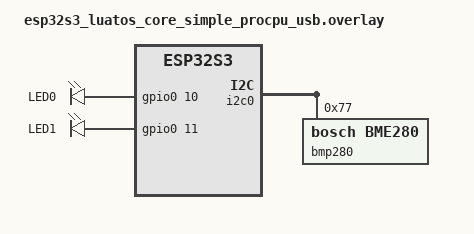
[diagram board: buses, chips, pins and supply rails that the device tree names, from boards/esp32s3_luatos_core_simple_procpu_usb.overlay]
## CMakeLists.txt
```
#-------------------------------------------------------------------------------
# Zephyr Example Application
#
# Copyright (c) 2021 Nordic Semiconductor ASA
# SPDX-License-Identifier: Apache-2.0

cmake_minimum_required(VERSION 3.13.1)
find_package(Zephyr REQUIRED HINTS $ENV{ZEPHYR_BASE})

project(app LANGUAGES C)

file(GLOB app_sources src/*.c)

target_sources(app PRIVATE ${app_sources})

zephyr_include_directories(${APPLICATION_SOURCE_DIR}/src/tls_config)
```

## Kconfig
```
# Copyright (c) 2021 Nordic Semiconductor ASA
# SPDX-License-Identifier: Apache-2.0
#
# This file is the application Kconfig entry point. All application Kconfig
# options can be defined here or included via other application Kconfig files.
# You can browse these options using the west targets menuconfig (terminal) or
# guiconfig (GUI).

mainmenu "Secure MQTT Sensor Actuator Sample Application"

config NET_SAMPLE_MQTT_BROKER_HOSTNAME
	string "Hostname of MQTT broker"
	default "test.mosquitto.org"
	help
	  MQTT broker's hostname or IP address.

config NET_SAMPLE_MQTT_BROKER_PORT
	string "MQTT Broker Connection Port"
	default "8883"
	help
	  Port through which the application should connect to the MQTT broker.
	  Secure MQTT uses port 8883.

config NET_SAMPLE_MQTT_PUB_TOPIC
	string "The MQTT topic the application should publish data to"
	default "zephyr_sample/sensor"

config NET_SAMPLE_MQTT_SUB_TOPIC_CMD
	string "The MQTT topic the application will receive commands on"
	default "zephyr_sample/command"

config NET_SAMPLE_MQTT_PUBLISH_INTERVAL
	int "Interval between MQTT publishes (in seconds)"
	default 3
	help
	  This config determines the frequency at which MQTT publishes occur.

choice NET_SAMPLE_MQTT_QOS
	prompt "Quality of Service level used for MQTT publish and subscribe"
	default NET_SAMPLE_MQTT_QOS_1_AT_LEAST_ONCE

config NET_SAMPLE_MQTT_QOS_0_AT_MOST_ONCE
	bool "QoS 0 / At most once delivery"
	help
	  No acknowledgment needed for published message.

config NET_SAMPLE_MQTT_QOS_1_AT_LEAST_ONCE
	bool "QoS 1 / At least once delivery"
	help
	  If acknowledgment expected for published message, duplicate messages permitted.

config NET_SAMPLE_MQTT_QOS_2_EXACTLY_ONCE
	bool "QoS 2 / Exactly once delivery"
	help
	   Acknowledgment expected and message shall be published only once.

endchoice

config NET_SAMPLE_MQTT_PAYLOAD_SIZE
	int "Size of MQTT payload in bytes"
	default 128

config WIFI_SAMPLE_SSID
	string "SSID of the target AP"
	help
	  SSID of the access point to connect to in station mode.
	  For example: "TARGET-AP"

config WIFI_SAMPLE_PSK
	string "Pre-shared key for target AP"
	help
	  WPA2 password used to connect to the target AP.
	  For example: "PSK"


source "Kconfig.zephyr"


module = APP
module-str = APP
source "subsys/logging/Kconfig.template.log_config"
```

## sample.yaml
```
# This file is provided so that the application can be compiled using Twister,
# the Zephyr testing tool. In this file, multiple combinations can be specified,
# so that you can easily test all of them locally or in CI.
sample:
  description: Example application
  name: example-application
common:
  build_only: true
  integration_platforms:
    - esp32s3_luatos_core
tests:
  app.default: {}
  app.debug:
    extra_overlay_confs:
      - debug.conf
```

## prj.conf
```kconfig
# Copyright (c) 2021 Nordic Semiconductor ASA
# SPDX-License-Identifier: Apache-2.0
#
# This file contains selected Kconfig options for the application.

CONFIG_NETWORKING=y
CONFIG_NET_LOG=y
CONFIG_NET_IPV4=y
CONFIG_NET_TCP=y
CONFIG_NET_DHCPV4=y
CONFIG_NET_SOCKETS=y
CONFIG_NET_SOCKETS_SOCKOPT_TLS=y
CONFIG_NET_BUF_RX_COUNT=100

CONFIG_NET_CONFIG_AUTO_INIT=n
CONFIG_NET_CONNECTION_MANAGER=y

CONFIG_NET_L2_ETHERNET=y
CONFIG_NET_L2_WIFI_MGMT=y

CONFIG_NET_MGMT=y
CONFIG_NET_MGMT_EVENT=y
CONFIG_NET_MGMT_EVENT_INFO=y
CONFIG_NET_MGMT_EVENT_QUEUE_SIZE=10
CONFIG_NET_MGMT_EVENT_STACK_SIZE=4096


CONFIG_MQTT_LIB=y
CONFIG_MQTT_LIB_TLS=y

CONFIG_MBEDTLS=y
CONFIG_MBEDTLS_BUILTIN=y
CONFIG_MBEDTLS_ENABLE_HEAP=y
CONFIG_MBEDTLS_HEAP_SIZE=60000
CONFIG_MBEDTLS_SSL_MAX_CONTENT_LEN=16384
CONFIG_MBEDTLS_PEM_CERTIFICATE_FORMAT=y
CONFIG_MBEDTLS_SERVER_NAME_INDICATION=y

CONFIG_JSON_LIBRARY=y
CONFIG_JSON_LIBRARY_FP_SUPPORT=y

CONFIG_NET_CONNECTION_MANAGER=y
CONFIG_NET_HOSTNAME_ENABLE=y

CONFIG_POSIX_API=y

CONFIG_SENSOR=y
CONFIG_SENSOR_ASYNC_API=y

CONFIG_LED=y

CONFIG_LOG=y
CONFIG_APP_LOG_LEVEL_DBG=y

# Main stack size
CONFIG_MAIN_STACK_SIZE=2048

# System work queue stack size
CONFIG_SYSTEM_WORKQUEUE_STACK_SIZE=2048

# Increase Rx net buffers
CONFIG_NET_BUF_RX_COUNT=100

CONFIG_PICOLIBC_IO_FLOAT=y
```

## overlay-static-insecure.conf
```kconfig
# Usage: west build -b <board> -- -DEXTRA_CONF_FILE=overlay-static-insecure.conf

CONFIG_MQTT_LIB_TLS=n
# CONFIG_NET_DHCPV4=n
CONFIG_NET_SAMPLE_MQTT_BROKER_PORT="1883"
CONFIG_NET_SAMPLE_MQTT_BROKER_HOSTNAME="10.0.0.148"

# CONFIG_NET_CONFIG_SETTINGS=y
# CONFIG_NET_CONFIG_MY_IPV4_ADDR="10.0.0.5"
```

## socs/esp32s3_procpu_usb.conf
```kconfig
CONFIG_ESP32_WIFI_STA_AUTO_DHCPV4=y

CONFIG_WIFI=y
CONFIG_WIFI_SAMPLE_SSID="11"
CONFIG_WIFI_SAMPLE_PSK="pkj20041124PKJ"

CONFIG_WIFI_NM=y
```

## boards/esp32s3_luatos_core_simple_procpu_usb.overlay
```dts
/*
 * SPDX-License-Identifier: Apache-2.0
 */

#include <zephyr/dt-bindings/pwm/pwm.h>

/ {
	aliases {
		ambient-temp0 = &bmp280;
	};

	gpio_leds {
		compatible = "gpio-leds";
		led_blue0: led_gpio0_10 {
			label = "LED0";
			gpios = <&gpio0 10 GPIO_ACTIVE_HIGH>;
		};

		led_blue1: led_gpio0_11 {
			label = "LED1";
			gpios = <&gpio0 11 GPIO_ACTIVE_HIGH>;
		};
	};
};

&i2c0 {
	status = "okay";
	bmp280: bme280@77 {
		compatible = "bosch,bme280";
		reg = <0x77>;
	};
};
```

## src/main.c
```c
/*
 * SPDX-License-Identifier: Apache-2.0
 */

#include <zephyr/logging/log.h>
LOG_MODULE_REGISTER(main, CONFIG_APP_LOG_LEVEL);

#include <zephyr/net/dhcpv4.h>
#include <zephyr/drivers/sensor.h>
#include <zephyr/kernel.h>
#include <zephyr/net/mqtt.h>
#include <zephyr/net/net_if.h>
#include <zephyr/net/conn_mgr_monitor.h>

#include "mqtt_client.h"
#include "mgmt.h"
#include "wifi_sta.h"
#include "device.h"

static struct mqtt_client client_ctx;
struct k_work_delayable mqtt_publish_work;

void log_mac_addr(struct net_if *iface) {
    struct net_linkaddr *mac;

    mac = net_if_get_link_addr(iface);
    LOG_INF("MAC address: %02X:%02X:%02X:%02X:%02X:%02X", mac->addr[0], mac->addr[1], mac->addr[2], mac->addr[3],
            mac->addr[4], mac->addr[5]);
}

static void publish_work_handler(struct k_work *work) {
    int ret;

    LOG_INF("Publish work");

    if (mqtt_connected) {
        ret = app_mqtt_publish(&client_ctx);
        if (ret != 0) {
            LOG_ERR("publish failed (%d)", ret);
        }
        LOG_INF("published");
        k_work_reschedule(&mqtt_publish_work,K_SECONDS(CONFIG_NET_SAMPLE_MQTT_PUBLISH_INTERVAL));
    } else {
        LOG_INF("not connected");
        k_work_cancel_delayable(&mqtt_publish_work);
    }
}

int main(void) {
    int ret = 0;
    struct net_if *iface;

    ret = device_ready();
    if (ret != true) {
        LOG_ERR("device_ready failed (%d)", ret);
        return ret;
    }

    mgmt_init();

    LOG_INF("Bring up network");

    ret = connect_to_wifi();
    if (ret != 0) {
        LOG_ERR("connect_to_wifi failed (%d)", ret);
    }

    iface = net_if_get_default();
    if (iface == NULL) {
        LOG_ERR("net_if_get_default() failed");
        return -ENETDOWN;
    }
    log_mac_addr(iface);

#if defined(CONFIG_NET_DHCPV4)
    net_dhcpv4_start(iface);
#else
    conn_mgr_mon_resend_status();
#endif
    k_sleep(K_SECONDS(8));
    // while (k_sem_take(&net_conn_sem, K_MSEC(5000)) != 0) {
    //     LOG_INF("Waiting for network connection");
    // }

    ret = app_mqtt_init(&client_ctx);
    if (ret != 0) {
        LOG_ERR("mqtt init failed (%d)", ret);
        return ret;
    }

    k_work_init_delayable(&mqtt_publish_work, publish_work_handler);

    while (true) {
        app_mqtt_connect(&client_ctx);

        k_work_reschedule(&mqtt_publish_work, K_SECONDS(CONFIG_NET_SAMPLE_MQTT_PUBLISH_INTERVAL));

        app_mqtt_run(&client_ctx);
    }

    return 0;
}
```

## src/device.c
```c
//
// Created by pkj on 2025/10/17.
//

#include "zephyr/drivers/led.h"
#include "zephyr/logging/log.h"
LOG_MODULE_REGISTER(app_device, CONFIG_APP_LOG_LEVEL);

#include "device.h"
#include "zephyr/device.h"
#include "zephyr/drivers/sensor.h"

#define SENSOR_UNIT "Celsius"
#define SENSOR_CHAN SENSOR_CHAN_AMBIENT_TEMP

struct device_cmd {
    const char *command;

    void (*handler)();
};

static const struct device *leds = DEVICE_DT_GET_OR_NULL(DT_INST(0,gpio_leds));
static const struct device *sensor = DEVICE_DT_GET_OR_NULL(DT_ALIAS(ambient_temp0));

static void led_user_on_handler(void) {
    device_write_led(LED_USER, 1);
}

static void led_user_off_handler(void) {
    device_write_led(LED_USER, 0);
}

static const struct device_cmd device_cmds[] = {
    {.command = "led_on", .handler = led_user_on_handler},
    {.command = "led_off", .handler = led_user_off_handler},
};

static const size_t num_device_cmds = ARRAY_SIZE(device_cmds);

bool device_ready() {
    bool ready = true;

    if (leds != NULL && device_is_ready(leds)) {
        LOG_INF("Device is ready: %s\n", leds->name);
    } else {
        ready = false;
    }

    if (sensor != NULL && device_is_ready(sensor)) {
        LOG_INF("Device is ready: %s\n", sensor->name);
    } else {
        ready = false;
    }

    return ready;
}

int device_read_sensor(struct sensor_data *data_ptr) {
    int ret = 0;
    struct sensor_value sensor_val;

    data_ptr->unit = SENSOR_UNIT;

    if (sensor == NULL) {
        data_ptr->value = 0;
        return -1;
    }

    ret = sensor_sample_fetch(sensor);
    if (ret < 0) {
        LOG_ERR("Fail to read sensor data");
        return ret;
    }

    ret = sensor_channel_get(sensor, SENSOR_CHAN, &sensor_val);
    if (ret < 0) {
        LOG_ERR("Fail to read sensor channel");
        return ret;
    }

    data_ptr->value = sensor_value_to_float(&sensor_val);

    LOG_INF("Device read sensor value: %06f", data_ptr->value);

    return ret;
}

int device_write_led(const enum led_id id, const enum led_state state) {
    int ret = 0;
    if (state) {
        ret = led_on(leds, id);
    } else {
        ret = led_off(leds, id);
    }
    if (ret != 0) {
        LOG_ERR("Fail to write led");
        return ret;
    }
    return ret;
}

void device_handle_command(const char *command) {
    for (int i = 0; i < num_device_cmds; i++) {
        if (strcmp(device_cmds[i].command, command) == 0) {
            LOG_INF("Device command %s", command);
            return device_cmds[i].handler();
        }
    }
    LOG_ERR("Unknown device command %s", command);
}
```

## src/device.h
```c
//
// Created by pkj on 2025/10/17.
//

#ifndef APP_DEVICE_H
#define APP_DEVICE_H

#include <stdbool.h>
#include <stdint.h>

struct sensor_data {
    const char *unit;
    float value;
};

enum led_id {
    LED_NET = 0,
    LED_USER
};

enum led_state {
    LED_OFF = 0,
    LED_ON
};

bool device_ready();

/**
 *
 * @param data_ptr in
 * @return
 */
int device_read_sensor(struct sensor_data *data_ptr);

int device_write_led(enum led_id, enum led_state);

void device_handle_command(const char *command);

#endif //APP_DEVICE_H
```

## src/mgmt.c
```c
//
// Created by pkj on 2025/10/17.
//
#include <zephyr/logging/log.h>
LOG_MODULE_REGISTER(mgmt, CONFIG_APP_LOG_LEVEL);

#include <zephyr/net/net_mgmt.h>
#include <zephyr/net/wifi_mgmt.h>

#include "mgmt.h"

#define MACSTR "%02X:%02X:%02X:%02X:%02X:%02X"

#define NET_EVENT_MASK                                                 \
    (NET_EVENT_WIFI_CONNECT_RESULT | NET_EVENT_WIFI_DISCONNECT_RESULT |     \
    NET_EVENT_L4_CONNECTED | NET_EVENT_L4_DISCONNECTED| NET_EVENT_IPV4_ADDR_ADD  )

K_SEM_DEFINE(net_conn_sem, 0, 1);

static struct net_mgmt_event_callback cb;

void mgmt_evt_handler(struct net_mgmt_event_callback *callback, uint64_t mgmt_event, struct net_if *iface) {
    switch (mgmt_event) {
        case NET_EVENT_L4_CONNECTED:
        case NET_EVENT_IPV4_ADDR_ADD:
            k_sem_give(&net_conn_sem);
            LOG_INF("Link up");
            break;
        case NET_EVENT_L4_DISCONNECTED:
            LOG_INF("Link down");
            break;
        case NET_EVENT_WIFI_CONNECT_RESULT:
            LOG_INF("Wifi Connected");
            break;
        case NET_EVENT_WIFI_DISCONNECT_RESULT:
            LOG_INF("Wifi Disconnected");
            break;
        default: break;
    }
}

void mgmt_init(void) {
    net_mgmt_init_event_callback(&cb, mgmt_evt_handler, NET_EVENT_MASK);
    net_mgmt_add_event_callback(&cb);
}
```

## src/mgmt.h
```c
//
// Created by pkj on 2025/10/17.
//

#ifndef APP_MGMT_H
#define APP_MGMT_H

extern struct k_sem net_conn_sem;

void mgmt_init(void);

#endif //APP_MGMT_H
```

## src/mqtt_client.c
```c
//
// Created by pkj on 2025/10/17.
//

#include <rom/cache.h>
#include <zephyr/logging/log.h>
LOG_MODULE_REGISTER(app_mqtt_client, LOG_LEVEL_INF);

#include <zephyr/kernel.h>
#include <zephyr/net/socket.h>
#include <zephyr/net/mqtt.h>
#include <zephyr/data/json.h>
#include <zephyr/random/random.h>

#include "mqtt_client.h"
#include "device.h"

#define MSECS_WAIT_RECONNECT 1000
#define MSECS_NET_POLL_TIMEOUT 5000

// Buffers for MQTT client
static uint8_t rx_buffer[CONFIG_NET_SAMPLE_MQTT_PAYLOAD_SIZE];
static uint8_t tx_buffer[CONFIG_NET_SAMPLE_MQTT_PAYLOAD_SIZE];

static uint8_t payload_buffer[CONFIG_NET_SAMPLE_MQTT_PAYLOAD_SIZE];

// MQTT broker details
static struct sockaddr_storage broker;

static struct zsock_pollfd fds[1];
static int nfds;

static const struct json_obj_descr sensor_data_descr[] = {
    JSON_OBJ_DESCR_PRIM(struct sensor_data, unit, JSON_TOK_STRING),
    JSON_OBJ_DESCR_PRIM(struct sensor_data, value, JSON_TOK_FLOAT_FP)
};

bool mqtt_connected = false;

// MQTT client id buffer
static uint8_t client_id[50];

// Tls
#if defined(CONFIG_MQTT_LIB_TLS)
#include "tls_config/cert.h"
#define TLS_SNI_HOSTNAME CONFIG_NET_SAMPLE_MQTT_BROKER_HOSTNAME
#define APP_CA_CERT_TAG 1
static const sec_tag_t m_sec_tags[] = {
    APP_CA_CERT_TAG,
};

static int tls_init() {
    int ret = 0;
    ret = tls_credential_add(APP_CA_CERT_TAG, TLS_CREDENTIAL_CA_CERTIFICATE, ca_certificate, sizeof(ca_certificate));
    if (ret < 0) {
        LOG_ERR("failed to create credentials");
        return ret;
    }
    return ret;
}

#endif

static void prepare_fds(struct mqtt_client *client) {
    if (client->transport.type == MQTT_TRANSPORT_NON_SECURE) {
        fds[0].fd = client->transport.tcp.sock;
    }
#if defined(CONFIG_MQTT_LIB_TLS)
    else if (client->transport.type == MQTT_TRANSPORT_SECURE) {
        fds[0].fd = client->transport.tls.sock;
    }
#endif
    fds[0].events = ZSOCK_POLLIN;
    nfds = 1;
}

static void clear_fds() {
    nfds = 0;
}

static void init_mqtt_client_id() {
    snprintk(client_id, sizeof(client_id), CONFIG_BOARD"_%x", (uint8_t)sys_rand32_get());
}

// Handler callback functions
static inline void on_mqtt_connected() {
    mqtt_connected = true;
    device_write_led(LED_NET, LED_ON);
    LOG_INF("MQTT connected");
    LOG_INF("Hostname: %s", CONFIG_NET_SAMPLE_MQTT_BROKER_HOSTNAME);
    LOG_INF("Client ID: %s", client_id);
    LOG_INF("Port: %s", CONFIG_NET_SAMPLE_MQTT_BROKER_PORT);
    LOG_INF("TLS: %s", IS_ENABLED(CONFIG_MQTT_LIB_TLS)?"Enabled": "Disabled");
}

static inline void on_mqtt_disconnected() {
    clear_fds();
    device_write_led(LED_NET, LED_OFF);
    mqtt_connected = false;
    LOG_INF("MQTT disconnected");
}


static void on_mqtt_publish(struct mqtt_client *const client, const struct mqtt_evt *evt) {
    int ret;
    uint8_t payload[CONFIG_NET_SAMPLE_MQTT_PAYLOAD_SIZE];

    ret = mqtt_read_publish_payload(client, payload,CONFIG_NET_SAMPLE_MQTT_PAYLOAD_SIZE);
    if (ret < 0) {
        LOG_ERR("Failed to read message payload: %d", ret);
        return;
    }
    payload[ret] = '\0';
    LOG_INF("MQTT payload received");
    LOG_INF("Topic: %s, Payload: %s", evt->param.publish.message.topic.topic.utf8, payload);
    if (strcmp((const char *) evt->param.publish.message.topic.topic.utf8,CONFIG_NET_SAMPLE_MQTT_SUB_TOPIC_CMD) == 0) {
        device_handle_command(payload);
    }
}

// MQTT event handler
static void mqtt_event_handler(struct mqtt_client *const client, const struct mqtt_evt *evt) {
    switch (evt->type) {
        case MQTT_EVT_CONNACK:
            if (evt->result != 0) {
                LOG_ERR("MQTT connect failed: %d", evt->result);
                break;
            }
            on_mqtt_connected();
            break;
        case MQTT_EVT_DISCONNECT:
            on_mqtt_disconnected();
            break;
        case MQTT_EVT_PINGRESP:
            LOG_INF("MQTT PING RESPONSE");
            break;
        case MQTT_EVT_PUBACK:
            if (evt->result != 0) {
                LOG_ERR("MQTT PUBACK error: %d", evt->result);
                break;
            }
            LOG_INF("MQTT PUBACK packet: %u", evt->param.puback.message_id);
            break;
        case MQTT_EVT_PUBREC:
            if (evt->result != 0) {
                LOG_ERR("MQTT PUBREC error: %d", evt->result);
                break;
            }
            LOG_INF("MQTT PUBREC packet: %u", evt->param.pubrec.message_id);
            const struct mqtt_pubrel_param rel_param = {
                .message_id = evt->param.pubrec.message_id
            };
            mqtt_publish_qos2_release(client, &rel_param);
            break;
        case MQTT_EVT_PUBREL:
            if (evt->result != 0) {
                LOG_ERR("MQTT PUBREL error: %d", evt->result);
                break;
            }
            LOG_INF("MQTT PUBREL packet: %u", evt->param.pubrel.message_id);
            const struct mqtt_pubcomp_param rec_param = {
                .message_id = evt->param.pubrel.message_id
            };
            mqtt_publish_qos2_complete(client, &rec_param);
            break;
        case MQTT_EVT_PUBCOMP:
            if (evt->result != 0) {
                LOG_ERR("MQTT PUBCOMP error: %d", evt->result);
                break;
            }
            LOG_INF("PUBCOMP packet: %u", evt->param.pubcomp.message_id);
            break;
        case MQTT_EVT_SUBACK:
            if (evt->result == MQTT_SUBACK_FAILURE) {
                LOG_ERR("MQTT SUBACK error: %d", evt->result);
                break;
            }
            LOG_INF("MQTT SUBACK packet: %d", evt->param.suback.message_id);
            break;
        case MQTT_EVT_PUBLISH:
            const struct mqtt_publish_param *p = &evt->param.publish;
            if (p->message.topic.qos == MQTT_QOS_1_AT_LEAST_ONCE) {
                const struct mqtt_puback_param ack_param = {
                    .message_id = p->message_id
                };
                mqtt_publish_qos1_ack(client, &ack_param);
            } else if (p->message.topic.qos == MQTT_QOS_2_EXACTLY_ONCE) {
                const struct mqtt_pubrec_param rec_param = {
                    .message_id = p->message_id
                };
                mqtt_publish_qos2_receive(client, &rec_param);
            }
            on_mqtt_publish(client, evt);
            break;
        default: break;
    }
}

static int get_mqtt_payload(struct mqtt_binstr *payload) {
    int ret = 0;
    struct sensor_data data;
    ret = device_read_sensor(&data);
    if (ret < 0) {
        LOG_ERR("Failed to read message data: %d", ret);
        return ret;
    }

    ret = json_obj_encode_buf(sensor_data_descr,ARRAY_SIZE(sensor_data_descr), &data, payload_buffer,
                              CONFIG_NET_SAMPLE_MQTT_PAYLOAD_SIZE);
    if (ret < 0) {
        LOG_ERR("Failed to encode message data: %d", ret);
        return ret;
    }
    payload->len = strlen(payload_buffer);
    payload->data = payload_buffer;

    return ret;
}

int app_mqtt_init(struct mqtt_client *client) {
    int ret = 0;
    uint8_t broker_ip[NET_IPV4_ADDR_LEN];
    struct sockaddr_in *broker4;
    struct addrinfo *result;
    const struct addrinfo hints = {
        .ai_family = AF_INET,
        .ai_socktype = SOCK_STREAM,
    };

    ret = getaddrinfo(CONFIG_NET_SAMPLE_MQTT_BROKER_HOSTNAME,CONFIG_NET_SAMPLE_MQTT_BROKER_PORT, &hints, &result);
    if (ret != 0) {
        LOG_ERR("Failed to get hostname: %d", ret);
        return ret;
    }
    if (result == NULL) {
        LOG_ERR("Broker address not found");
        return -ENOENT;
    }

    broker4 = (struct sockaddr_in *) &broker;
    broker4->sin_addr.s_addr = ((struct sockaddr_in *) result->ai_addr)->sin_addr.s_addr;
    broker4->sin_family = AF_INET;
    broker4->sin_port = ((struct sockaddr_in *) result->ai_addr)->sin_port;
    freeaddrinfo(result);

    inet_ntop(AF_INET, &broker4->sin_addr.s_addr, broker_ip, sizeof(broker_ip));
    LOG_INF("Broker ip: %s", broker_ip);

    init_mqtt_client_id();
    mqtt_client_init(client);
    client->broker = &broker;
    client->evt_cb = mqtt_event_handler;
    client->client_id.utf8 = client_id;
    client->client_id.size = strlen(client_id);
    client->password = NULL;
    client->user_name = NULL;
    client->protocol_version = MQTT_VERSION_3_1_1;

    client->rx_buf = rx_buffer;
    client->rx_buf_size = sizeof(rx_buffer);
    client->tx_buf = tx_buffer;
    client->tx_buf_size = sizeof(tx_buffer);

#if defined(CONFIG_MQTT_LIB_TLS)
    struct mqtt_sec_config *tls_cfg;
    client->transport.type = MQTT_TRANSPORT_SECURE;
    ret = tls_init();
    if (ret < 0) {
        LOG_ERR("Failed to initialize MQTT TLS: %d", ret);
        return ret;
    }
    tls_cfg = &client->transport.tls.config;
    tls_cfg->peer_verify = TLS_PEER_VERIFY_NONE;
    tls_cfg->cipher_list = NULL;
    tls_cfg->sec_tag_list = m_sec_tags;
    tls_cfg->sec_tag_count = ARRAY_SIZE(m_sec_tags);
#if defined(CONFIG_MBEDTLS_SERVER_NAME_INDICATION)
    tls_cfg->hostname = TLS_SNI_HOSTNAME;
#else
    tls_cfg->hostname = NULL;
#endif
#endif
    return ret;
}

static int poll_mqtt_socket(struct mqtt_client *client, int timeout) {
    int ret = 0;
    prepare_fds(client);
    if (nfds <= 0) {
        return -EINVAL;
    };

    ret = zsock_poll(fds, nfds, timeout);
    if (ret < 0) {
        LOG_ERR("poll mqtt socket poll failed: %d", ret);
    }
    return ret;
}

int app_mqtt_connect(struct mqtt_client *client) {
    int ret = 0;
    mqtt_connected = false;
    while (!mqtt_connected) {
        ret = mqtt_connect(client);
        if (ret < 0) {
            LOG_ERR("MQTT connect failed: %d", ret);
            k_msleep(MSECS_WAIT_RECONNECT);
            continue;
        }
        ret = poll_mqtt_socket(client,MSECS_WAIT_RECONNECT);
        if (ret > 0) {
            mqtt_input(client);
        }
        if (!mqtt_connected) {
            mqtt_abort(client);
        }
    }
    return ret;
}

int app_mqtt_subscribe(struct mqtt_client *client) {
    int ret = 0;
    struct mqtt_topic sub_topics[] = {
        {
            .topic = {
                .utf8 = CONFIG_NET_SAMPLE_MQTT_SUB_TOPIC_CMD, .size = strlen(CONFIG_NET_SAMPLE_MQTT_SUB_TOPIC_CMD)
            },
            .qos = IS_ENABLED(CONFIG_NET_SAMPLE_MQTT_QOS_0_AT_MOST_ONCE)
                       ? 0
                       : (
                           IS_ENABLED(CONFIG_NET_SAMPLE_MQTT_QOS_1_AT_LEAST_ONCE) ? 1 : 2
                       )
        }
    };
    const struct mqtt_subscription_list sub_list = {
        .list = sub_topics,
        .list_count = ARRAY_SIZE(sub_topics),
        .message_id = 5841U
    };
    LOG_INF("Subscribe to %d topics", sub_list.list_count);
    ret = mqtt_subscribe(client, &sub_list);
    if (ret != 0) {
        LOG_ERR("Subscribe failed: %d", ret);
    }
    return ret;
}

int app_mqtt_publish(struct mqtt_client *client) {
    int ret = 0;
    struct mqtt_publish_param param;
    struct mqtt_binstr payload;
    static uint16_t msg_id = 1;
    struct mqtt_topic topic = {
        .topic = {
            .utf8 = CONFIG_NET_SAMPLE_MQTT_PUB_TOPIC,
            .size = strlen(CONFIG_NET_SAMPLE_MQTT_PUB_TOPIC),
        },
        .qos = IS_ENABLED(CONFIG_NET_SAMPLE_MQTT_QOS_0_AT_MOST_ONCE)
                   ? 0
                   : (
                       CONFIG_NET_SAMPLE_MQTT_QOS_1_AT_LEAST_ONCE ? 1 : 2
                   ),
    };
    ret = get_mqtt_payload(&payload);
    if (ret != 0) {
        LOG_ERR("get_mqtt_payload failed: %d", ret);
    }
    param.message.topic = topic;
    param.message.payload = payload;
    param.message_id = msg_id++;
    param.dup_flag = 0;
    param.retain_flag = 0;
    ret = mqtt_publish(client, &param);
    if (ret != 0) {
        LOG_ERR("Publish failed: %d", ret);
    }
    LOG_INF("Published to topic: %s, Qos %d", param.message.topic.topic.utf8, param.message.topic.qos);
    return ret;
}

int app_mqtt_process(struct mqtt_client *client) {
    int ret = 0;
    int time_left;

    time_left = mqtt_keepalive_time_left(client);

    ret = poll_mqtt_socket(client, time_left);
    if (ret != 0) {
        if (fds[0].revents & ZSOCK_POLLIN) {
            ret = mqtt_input(client);
            if (ret != 0) {
                LOG_ERR("MQTT input failed: %d", ret);
                return ret;
            }
            if (fds[0].revents & (ZSOCK_POLLHUP | ZSOCK_POLLERR)) {
                LOG_ERR("MQTT socket closed/error");
                return -ENOTCONN;
            }
        }
    } else {
        ret = mqtt_live(client);
        if (ret != 0) {
            LOG_ERR("MQTT live failed: %d", ret);
            return ret;
        }
    }
    return ret;
}

int app_mqtt_run(struct mqtt_client *client) {
    int ret = 0;

    app_mqtt_subscribe(client);
    while (mqtt_connected) {
        k_sleep(K_SECONDS(1));
        ret = app_mqtt_process(client);
        if (ret != 0) {
            LOG_ERR("MQTT process failed: %d", ret);
            break;
        }
    }
    mqtt_disconnect(client,NULL);

    return 0;
}
```

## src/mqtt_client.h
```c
//
// Created by pkj on 2025/10/17.
//

#ifndef APP_MQTT_CLIENT_H
#define APP_MQTT_CLIENT_H

extern bool mqtt_connected;

int app_mqtt_init(struct mqtt_client *client);

int app_mqtt_connect(struct mqtt_client *client);

int app_mqtt_run(struct mqtt_client *client);

int app_mqtt_subscribe(struct mqtt_client *client);

int app_mqtt_publish(struct mqtt_client *client);

#endif //APP_MQTT_CLIENT_H
```

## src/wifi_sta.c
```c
//
// Created by pkj on 2025/10/17.
//

#include <zephyr/logging/log.h>
LOG_MODULE_REGISTER(wifi_sta, CONFIG_APP_LOG_LEVEL);

#include <zephyr/kernel.h>
#include <zephyr/net/wifi_mgmt.h>

#include "wifi_sta.h"

static struct net_if *sta_iface;
static struct wifi_connect_req_params sta_config;

BUILD_ASSERT(sizeof(CONFIG_WIFI_SAMPLE_SSID)>1, "CONFIG_WIFI_SAMPLE_SSID is empty");

int connect_to_wifi() {
    int ret = 0;

    /* Get STA interface in AP-STA mode. */
    sta_iface = net_if_get_wifi_sta();
    if (!sta_iface) {
        LOG_INF("STA: interface not initialized");
        return -EIO;
    }

    sta_config.ssid = (const uint8_t *) CONFIG_WIFI_SAMPLE_SSID;
    sta_config.ssid_length = sizeof(CONFIG_WIFI_SAMPLE_SSID) - 1;
    sta_config.psk = (const uint8_t *) CONFIG_WIFI_SAMPLE_PSK;
    sta_config.psk_length = sizeof(CONFIG_WIFI_SAMPLE_PSK) - 1;
    sta_config.security = WIFI_SECURITY_TYPE_PSK;
    sta_config.channel = WIFI_CHANNEL_ANY;
    sta_config.band = WIFI_FREQ_BAND_2_4_GHZ;

    LOG_INF("Connecting to SSID: %s", sta_config.ssid);

    ret = net_mgmt(NET_REQUEST_WIFI_CONNECT, sta_iface, &sta_config, sizeof(struct wifi_connect_req_params));
    if (ret != 0) {
        LOG_ERR("Wifi connect request failed");
    }
    return ret;
}
```

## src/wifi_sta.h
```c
//
// Created by pkj on 2025/10/17.
//

#ifndef APP_WIFI_STA_H
#define APP_WIFI_STA_H

#define NET_EVENT_WIFI_MASK (NET_EVENT_WIFI_CONNECT_RESULT| NET_EVENT_WIFI_DISCONNECT_RESULT)

int connect_to_wifi();

#endif //APP_WIFI_STA_H
```
